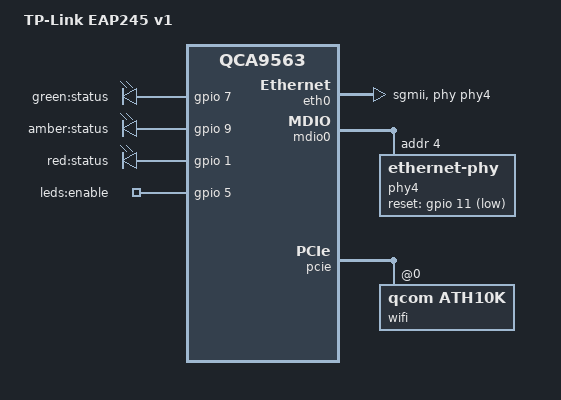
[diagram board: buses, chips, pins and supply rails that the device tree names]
// SPDX-License-Identifier: GPL-2.0-or-later OR MIT

#include "qca9563_tplink_eap2x5-1port.dtsi"

/ {
	compatible = "tplink,eap245-v1", "qca,qca9563";
	model = "TP-Link EAP245 v1";

	aliases {
		led-boot = &led_status_green;
		led-failsafe = &led_status_amber;
		led-running = &led_status_green;
		led-upgrade = &led_status_amber;
	};

	leds {
		compatible = "gpio-leds";

		led_status_green: status_green {
			label = "green:status";
			gpios = <&gpio 7 GPIO_ACTIVE_HIGH>;
			default-state = "on";
		};

		led_status_amber: status_amber {
			label = "amber:status";
			gpios = <&gpio 9 GPIO_ACTIVE_HIGH>;
		};

		led_status_red: status_red {
			label = "red:status";
			gpios = <&gpio 1 GPIO_ACTIVE_HIGH>;
		};
	};

	gpio-export {
		compatible = "gpio-export";
		led_enable {
			gpio-export,name = "leds:enable";
			gpio-export,output = <1>;
			gpios = <&gpio 5 GPIO_ACTIVE_HIGH>;
		};
	};
};

&art {
	calibration_ath10k: calibration@5000 {
		reg = <0x5000 0x844>;
	};
};

&eth0 {
	phy-handle = <&phy4>;
	phy-mode = "sgmii";
};

&mdio0 {
	phy4: ethernet-phy@4 {
		reg = <4>;
		reset-gpios = <&gpio 11 GPIO_ACTIVE_LOW>;
	};
};

&pcie {
	wifi@0,0 {
		compatible = "qcom,ath10k";
		reg = <0 0 0 0 0>;

		mac-address-increment = <1>;

		nvmem-cells = <&macaddr_info_8>, <&calibration_ath10k>;
		nvmem-cell-names = "mac-address", "calibration";
	};
};
